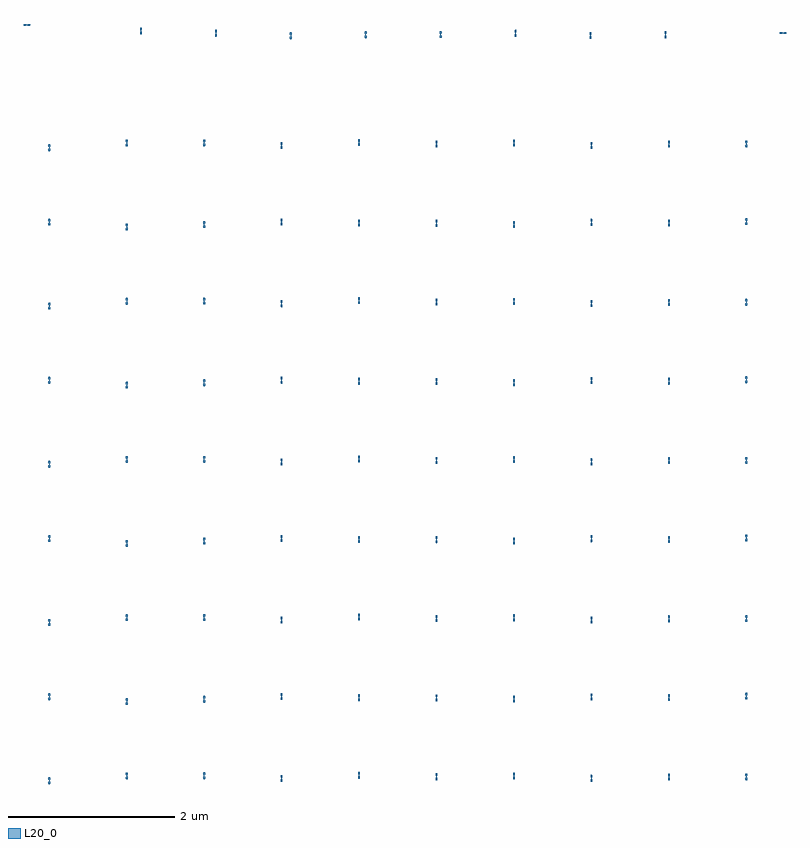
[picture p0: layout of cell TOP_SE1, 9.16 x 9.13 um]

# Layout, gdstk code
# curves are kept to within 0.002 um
import gdstk
lib = gdstk.Library(unit=1e-6, precision=1e-09)
def P(c, l, *ps):  # polygons
    for p in ps: c.add(gdstk.Polygon(p, *l))
L20_0 = (20, 0)

top_se1 = lib.new_cell('TOP_SE1')
P(top_se1, L20_0, [(-4.47,4.501),(-4.468,4.503),(-4.459,4.503),(-4.459,4.507),(-4.456,4.51),(-4.433,4.51),(-4.429,4.505),(-4.429,4.495),(-4.433,4.49),(-4.456,4.49),(-4.459,4.493),(-4.459,4.497),(-4.468,4.497)],
  [(-4.479,4.495),(-4.483,4.49),(-4.506,4.49),(-4.509,4.493),(-4.509,4.507),(-4.506,4.51),(-4.483,4.51),(-4.48,4.508),(-4.479,4.503),(-4.47,4.503),(-4.47,4.497),(-4.479,4.497)],
  [(-3.099,4.428),(-3.097,4.426),(-3.097,4.417),(-3.093,4.417),(-3.09,4.414),(-3.09,4.391),(-3.095,4.387),(-3.105,4.387),(-3.11,4.391),(-3.11,4.414),(-3.107,4.417),(-3.103,4.417),(-3.103,4.426)],
  [(-3.105,4.437),(-3.11,4.441),(-3.11,4.464),(-3.107,4.467),(-3.093,4.467),(-3.09,4.464),(-3.09,4.441),(-3.092,4.438),(-3.097,4.437),(-3.097,4.428),(-3.103,4.428),(-3.103,4.437)],
  [(-2.199,4.4),(-2.199,4.398),(-2.197,4.398),(-2.197,4.389),(-2.193,4.389),(-2.19,4.385),(-2.19,4.362),(-2.193,4.359),(-2.207,4.359),(-2.21,4.362),(-2.21,4.385),(-2.207,4.389),(-2.203,4.389),(-2.203,4.398)],
  [(-2.205,4.409),(-2.21,4.412),(-2.21,4.435),(-2.207,4.439),(-2.193,4.439),(-2.19,4.435),(-2.19,4.412),(-2.193,4.409),(-2.197,4.409),(-2.197,4.4),(-2.203,4.4),(-2.203,4.409)],
  [(-1.299,4.369),(-1.297,4.367),(-1.297,4.358),(-1.293,4.358),(-1.29,4.355),(-1.29,4.331),(-1.293,4.328),(-1.307,4.328),(-1.31,4.331),(-1.31,4.355),(-1.307,4.358),(-1.303,4.358),(-1.303,4.367)],
  [(-1.305,4.378),(-1.31,4.381),(-1.31,4.405),(-1.307,4.408),(-1.293,4.408),(-1.29,4.405),(-1.29,4.381),(-1.293,4.378),(-1.297,4.378),(-1.297,4.369),(-1.303,4.369),(-1.303,4.378)],
  [(-0.399,4.381),(-0.397,4.38),(-0.397,4.371),(-0.392,4.37),(-0.39,4.367),(-0.39,4.344),(-0.393,4.341),(-0.407,4.341),(-0.41,4.344),(-0.41,4.367),(-0.408,4.37),(-0.403,4.371),(-0.403,4.38)],
  [(-0.405,4.391),(-0.41,4.394),(-0.41,4.417),(-0.405,4.421),(-0.392,4.42),(-0.39,4.417),(-0.39,4.394),(-0.393,4.391),(-0.397,4.391),(-0.397,4.382),(-0.403,4.382),(-0.403,4.391)],
  [(0.501,4.383),(0.503,4.382),(0.503,4.373),(0.508,4.372),(0.51,4.369),(0.51,4.346),(0.507,4.343),(0.493,4.343),(0.49,4.346),(0.49,4.369),(0.492,4.372),(0.497,4.373),(0.497,4.382)],
  [(0.495,4.393),(0.49,4.396),(0.49,4.419),(0.495,4.423),(0.508,4.422),(0.51,4.419),(0.51,4.396),(0.507,4.393),(0.503,4.393),(0.503,4.384),(0.497,4.384),(0.497,4.393)],
  [(1.401,4.399),(1.401,4.397),(1.403,4.397),(1.403,4.388),(1.408,4.387),(1.41,4.384),(1.41,4.361),(1.407,4.358),(1.393,4.358),(1.39,4.361),(1.39,4.384),(1.392,4.387),(1.397,4.388),(1.397,4.397)],
  [(1.395,4.408),(1.39,4.411),(1.39,4.434),(1.395,4.438),(1.408,4.437),(1.41,4.434),(1.41,4.411),(1.407,4.408),(1.403,4.408),(1.403,4.399),(1.397,4.399),(1.397,4.408)],
  [(2.301,4.372),(2.301,4.37),(2.303,4.37),(2.303,4.361),(2.308,4.36),(2.31,4.357),(2.31,4.334),(2.307,4.331),(2.293,4.331),(2.29,4.334),(2.29,4.357),(2.292,4.36),(2.297,4.361),(2.297,4.37)],
  [(2.295,4.381),(2.29,4.384),(2.29,4.407),(2.295,4.411),(2.308,4.41),(2.31,4.407),(2.31,4.384),(2.307,4.381),(2.303,4.381),(2.303,4.372),(2.297,4.372),(2.297,4.381)],
  [(3.201,4.381),(3.201,4.379),(3.203,4.379),(3.203,4.37),(3.207,4.37),(3.21,4.366),(3.21,4.343),(3.207,4.34),(3.193,4.34),(3.19,4.343),(3.19,4.366),(3.193,4.37),(3.197,4.37),(3.197,4.379)],
  [(3.195,4.39),(3.19,4.393),(3.19,4.416),(3.193,4.42),(3.207,4.42),(3.21,4.416),(3.21,4.393),(3.207,4.39),(3.203,4.39),(3.203,4.381),(3.197,4.381),(3.197,4.39)],
  [(4.613,4.399),(4.611,4.397),(4.602,4.397),(4.602,4.393),(4.599,4.39),(4.576,4.39),(4.572,4.395),(4.572,4.405),(4.576,4.41),(4.599,4.41),(4.602,4.407),(4.602,4.403),(4.611,4.403)],
  [(4.622,4.405),(4.626,4.41),(4.649,4.41),(4.652,4.407),(4.652,4.393),(4.649,4.39),(4.626,4.39),(4.623,4.392),(4.622,4.397),(4.613,4.397),(4.613,4.403),(4.622,4.403)],
  [(-4.201,3.022),(-4.203,3.024),(-4.203,3.033),(-4.207,3.033),(-4.21,3.036),(-4.21,3.059),(-4.205,3.063),(-4.195,3.063),(-4.19,3.059),(-4.19,3.036),(-4.193,3.033),(-4.197,3.033),(-4.197,3.024)],
  [(-4.195,3.013),(-4.19,3.009),(-4.19,2.986),(-4.193,2.983),(-4.207,2.983),(-4.21,2.986),(-4.21,3.009),(-4.208,3.012),(-4.203,3.013),(-4.203,3.022),(-4.197,3.022),(-4.197,3.013)],
  [(-3.271,3.08),(-3.273,3.082),(-3.273,3.091),(-3.277,3.091),(-3.28,3.094),(-3.28,3.117),(-3.275,3.121),(-3.265,3.121),(-3.26,3.117),(-3.26,3.094),(-3.263,3.091),(-3.267,3.091),(-3.267,3.082)],
  [(-3.265,3.071),(-3.26,3.067),(-3.26,3.044),(-3.263,3.041),(-3.277,3.041),(-3.28,3.044),(-3.28,3.067),(-3.278,3.07),(-3.273,3.071),(-3.273,3.08),(-3.267,3.08),(-3.267,3.071)],
  [(-2.341,3.081),(-2.343,3.083),(-2.343,3.092),(-2.347,3.092),(-2.35,3.095),(-2.35,3.119),(-2.347,3.122),(-2.333,3.122),(-2.33,3.119),(-2.33,3.095),(-2.333,3.092),(-2.337,3.092),(-2.337,3.083)],
  [(-2.335,3.072),(-2.33,3.069),(-2.33,3.045),(-2.333,3.042),(-2.347,3.042),(-2.35,3.045),(-2.35,3.069),(-2.347,3.072),(-2.343,3.072),(-2.343,3.081),(-2.337,3.081),(-2.337,3.072)],
  [(-1.411,3.05),(-1.411,3.052),(-1.413,3.052),(-1.413,3.061),(-1.417,3.061),(-1.42,3.065),(-1.42,3.088),(-1.417,3.091),(-1.403,3.091),(-1.4,3.088),(-1.4,3.065),(-1.403,3.061),(-1.407,3.061),(-1.407,3.052)],
  [(-1.405,3.041),(-1.4,3.038),(-1.4,3.015),(-1.403,3.011),(-1.417,3.011),(-1.42,3.015),(-1.42,3.038),(-1.417,3.041),(-1.413,3.041),(-1.413,3.05),(-1.407,3.05),(-1.407,3.041)],
  [(-0.481,3.087),(-0.483,3.089),(-0.483,3.098),(-0.487,3.098),(-0.49,3.101),(-0.49,3.124),(-0.485,3.128),(-0.475,3.128),(-0.47,3.124),(-0.47,3.101),(-0.473,3.098),(-0.477,3.098),(-0.477,3.089)],
  [(-0.475,3.078),(-0.47,3.074),(-0.47,3.051),(-0.473,3.048),(-0.487,3.048),(-0.49,3.051),(-0.49,3.074),(-0.488,3.077),(-0.483,3.078),(-0.483,3.087),(-0.477,3.087),(-0.477,3.078)],
  [(0.449,3.069),(0.449,3.071),(0.447,3.071),(0.447,3.08),(0.443,3.08),(0.44,3.084),(0.44,3.107),(0.443,3.11),(0.457,3.11),(0.46,3.107),(0.46,3.084),(0.457,3.08),(0.453,3.08),(0.453,3.071)],
  [(0.455,3.06),(0.46,3.057),(0.46,3.034),(0.457,3.03),(0.443,3.03),(0.44,3.034),(0.44,3.057),(0.443,3.06),(0.447,3.06),(0.447,3.069),(0.453,3.069),(0.453,3.06)],
  [(1.379,3.078),(1.379,3.08),(1.377,3.08),(1.377,3.089),(1.372,3.09),(1.37,3.093),(1.37,3.116),(1.373,3.119),(1.387,3.119),(1.39,3.116),(1.39,3.093),(1.388,3.09),(1.383,3.089),(1.383,3.08)],
  [(1.385,3.069),(1.39,3.066),(1.39,3.043),(1.385,3.039),(1.372,3.04),(1.37,3.043),(1.37,3.066),(1.373,3.069),(1.377,3.069),(1.377,3.078),(1.383,3.078),(1.383,3.069)],
  [(2.309,3.051),(2.309,3.053),(2.307,3.053),(2.307,3.062),(2.302,3.063),(2.3,3.066),(2.3,3.089),(2.303,3.092),(2.317,3.092),(2.32,3.089),(2.32,3.066),(2.318,3.063),(2.313,3.062),(2.313,3.053)],
  [(2.315,3.042),(2.32,3.039),(2.32,3.016),(2.315,3.012),(2.302,3.013),(2.3,3.016),(2.3,3.039),(2.303,3.042),(2.307,3.042),(2.307,3.051),(2.313,3.051),(2.313,3.042)],
  [(3.239,3.067),(3.237,3.068),(3.237,3.077),(3.232,3.078),(3.23,3.081),(3.23,3.104),(3.233,3.107),(3.247,3.107),(3.25,3.104),(3.25,3.081),(3.248,3.078),(3.243,3.077),(3.243,3.068)],
  [(3.245,3.057),(3.25,3.054),(3.25,3.031),(3.245,3.027),(3.232,3.028),(3.23,3.031),(3.23,3.054),(3.233,3.057),(3.237,3.057),(3.237,3.066),(3.243,3.066),(3.243,3.057)],
  [(4.169,3.069),(4.167,3.07),(4.167,3.079),(4.162,3.08),(4.16,3.083),(4.16,3.106),(4.163,3.109),(4.177,3.109),(4.18,3.106),(4.18,3.083),(4.178,3.08),(4.173,3.079),(4.173,3.07)],
  [(4.175,3.059),(4.18,3.056),(4.18,3.033),(4.175,3.029),(4.162,3.03),(4.16,3.033),(4.16,3.056),(4.163,3.059),(4.167,3.059),(4.167,3.068),(4.173,3.068),(4.173,3.059)],
  [(-4.201,2.13),(-4.203,2.132),(-4.203,2.141),(-4.207,2.141),(-4.21,2.144),(-4.21,2.167),(-4.205,2.171),(-4.195,2.171),(-4.19,2.167),(-4.19,2.144),(-4.193,2.141),(-4.197,2.141),(-4.197,2.132)],
  [(-4.195,2.121),(-4.19,2.117),(-4.19,2.094),(-4.193,2.091),(-4.207,2.091),(-4.21,2.094),(-4.21,2.117),(-4.208,2.12),(-4.203,2.121),(-4.203,2.13),(-4.197,2.13),(-4.197,2.121)],
  [(-3.271,2.072),(-3.273,2.074),(-3.273,2.083),(-3.277,2.083),(-3.28,2.086),(-3.28,2.109),(-3.275,2.113),(-3.265,2.113),(-3.26,2.109),(-3.26,2.086),(-3.263,2.083),(-3.267,2.083),(-3.267,2.074)],
  [(-3.265,2.063),(-3.26,2.059),(-3.26,2.036),(-3.263,2.033),(-3.277,2.033),(-3.28,2.036),(-3.28,2.059),(-3.278,2.062),(-3.273,2.063),(-3.273,2.072),(-3.267,2.072),(-3.267,2.063)],
  [(-2.341,2.1),(-2.341,2.102),(-2.343,2.102),(-2.343,2.111),(-2.347,2.111),(-2.35,2.115),(-2.35,2.138),(-2.347,2.141),(-2.333,2.141),(-2.33,2.138),(-2.33,2.115),(-2.333,2.111),(-2.337,2.111),(-2.337,2.102)],
  [(-2.335,2.091),(-2.33,2.088),(-2.33,2.065),(-2.333,2.061),(-2.347,2.061),(-2.35,2.065),(-2.35,2.088),(-2.347,2.091),(-2.343,2.091),(-2.343,2.1),(-2.337,2.1),(-2.337,2.091)],
  [(-1.411,2.131),(-1.413,2.133),(-1.413,2.142),(-1.417,2.142),(-1.42,2.145),(-1.42,2.169),(-1.417,2.172),(-1.403,2.172),(-1.4,2.169),(-1.4,2.145),(-1.403,2.142),(-1.407,2.142),(-1.407,2.133)],
  [(-1.405,2.122),(-1.4,2.119),(-1.4,2.095),(-1.403,2.092),(-1.417,2.092),(-1.42,2.095),(-1.42,2.119),(-1.417,2.122),(-1.413,2.122),(-1.413,2.131),(-1.407,2.131),(-1.407,2.122)],
  [(-0.481,2.119),(-0.483,2.12),(-0.483,2.129),(-0.488,2.13),(-0.49,2.133),(-0.49,2.156),(-0.487,2.159),(-0.473,2.159),(-0.47,2.156),(-0.47,2.133),(-0.472,2.13),(-0.477,2.129),(-0.477,2.12)],
  [(-0.475,2.109),(-0.47,2.106),(-0.47,2.083),(-0.475,2.079),(-0.488,2.08),(-0.49,2.083),(-0.49,2.106),(-0.487,2.109),(-0.483,2.109),(-0.483,2.118),(-0.477,2.118),(-0.477,2.109)],
  [(0.449,2.117),(0.447,2.118),(0.447,2.127),(0.442,2.128),(0.44,2.131),(0.44,2.154),(0.443,2.157),(0.457,2.157),(0.46,2.154),(0.46,2.131),(0.458,2.128),(0.453,2.127),(0.453,2.118)],
  [(0.455,2.107),(0.46,2.104),(0.46,2.081),(0.455,2.077),(0.442,2.078),(0.44,2.081),(0.44,2.104),(0.443,2.107),(0.447,2.107),(0.447,2.116),(0.453,2.116),(0.453,2.107)],
  [(1.379,2.101),(1.379,2.103),(1.377,2.103),(1.377,2.112),(1.372,2.113),(1.37,2.116),(1.37,2.139),(1.373,2.142),(1.387,2.142),(1.39,2.139),(1.39,2.116),(1.388,2.113),(1.383,2.112),(1.383,2.103)],
  [(1.385,2.092),(1.39,2.089),(1.39,2.066),(1.385,2.062),(1.372,2.063),(1.37,2.066),(1.37,2.089),(1.373,2.092),(1.377,2.092),(1.377,2.101),(1.383,2.101),(1.383,2.092)],
  [(2.309,2.128),(2.309,2.13),(2.307,2.13),(2.307,2.139),(2.302,2.14),(2.3,2.143),(2.3,2.166),(2.303,2.169),(2.317,2.169),(2.32,2.166),(2.32,2.143),(2.318,2.14),(2.313,2.139),(2.313,2.13)],
  [(2.315,2.119),(2.32,2.116),(2.32,2.093),(2.315,2.089),(2.302,2.09),(2.3,2.093),(2.3,2.116),(2.303,2.119),(2.307,2.119),(2.307,2.128),(2.313,2.128),(2.313,2.119)],
  [(3.239,2.119),(3.239,2.121),(3.237,2.121),(3.237,2.13),(3.233,2.13),(3.23,2.134),(3.23,2.157),(3.233,2.16),(3.247,2.16),(3.25,2.157),(3.25,2.134),(3.247,2.13),(3.243,2.13),(3.243,2.121)],
  [(3.245,2.11),(3.25,2.107),(3.25,2.084),(3.247,2.08),(3.233,2.08),(3.23,2.084),(3.23,2.107),(3.233,2.11),(3.237,2.11),(3.237,2.119),(3.243,2.119),(3.243,2.11)],
  [(4.169,2.137),(4.167,2.139),(4.167,2.148),(4.163,2.148),(4.16,2.151),(4.16,2.174),(4.165,2.178),(4.175,2.178),(4.18,2.174),(4.18,2.151),(4.177,2.148),(4.173,2.148),(4.173,2.139)],
  [(4.175,2.128),(4.18,2.124),(4.18,2.101),(4.177,2.098),(4.163,2.098),(4.16,2.101),(4.16,2.124),(4.162,2.127),(4.167,2.128),(4.167,2.137),(4.173,2.137),(4.173,2.128)],
  [(-4.201,1.122),(-4.203,1.124),(-4.203,1.133),(-4.207,1.133),(-4.21,1.136),(-4.21,1.159),(-4.205,1.163),(-4.195,1.163),(-4.19,1.159),(-4.19,1.136),(-4.193,1.133),(-4.197,1.133),(-4.197,1.124)],
  [(-4.195,1.113),(-4.19,1.109),(-4.19,1.086),(-4.193,1.083),(-4.207,1.083),(-4.21,1.086),(-4.21,1.109),(-4.208,1.112),(-4.203,1.113),(-4.203,1.122),(-4.197,1.122),(-4.197,1.113)],
  [(-3.271,1.18),(-3.273,1.182),(-3.273,1.191),(-3.277,1.191),(-3.28,1.194),(-3.28,1.217),(-3.275,1.221),(-3.265,1.221),(-3.26,1.217),(-3.26,1.194),(-3.263,1.191),(-3.267,1.191),(-3.267,1.182)],
  [(-3.265,1.171),(-3.26,1.167),(-3.26,1.144),(-3.263,1.141),(-3.277,1.141),(-3.28,1.144),(-3.28,1.167),(-3.278,1.17),(-3.273,1.171),(-3.273,1.18),(-3.267,1.18),(-3.267,1.171)],
  [(-2.341,1.181),(-2.343,1.183),(-2.343,1.192),(-2.347,1.192),(-2.35,1.195),(-2.35,1.219),(-2.347,1.222),(-2.333,1.222),(-2.33,1.219),(-2.33,1.195),(-2.333,1.192),(-2.337,1.192),(-2.337,1.183)],
  [(-2.335,1.172),(-2.33,1.169),(-2.33,1.145),(-2.333,1.142),(-2.347,1.142),(-2.35,1.145),(-2.35,1.169),(-2.347,1.172),(-2.343,1.172),(-2.343,1.181),(-2.337,1.181),(-2.337,1.172)],
  [(-1.411,1.15),(-1.411,1.152),(-1.413,1.152),(-1.413,1.161),(-1.417,1.161),(-1.42,1.165),(-1.42,1.188),(-1.417,1.191),(-1.403,1.191),(-1.4,1.188),(-1.4,1.165),(-1.403,1.161),(-1.407,1.161),(-1.407,1.152)],
  [(-1.405,1.141),(-1.4,1.138),(-1.4,1.115),(-1.403,1.111),(-1.417,1.111),(-1.42,1.115),(-1.42,1.138),(-1.417,1.141),(-1.413,1.141),(-1.413,1.15),(-1.407,1.15),(-1.407,1.141)],
  [(-0.481,1.187),(-0.483,1.189),(-0.483,1.198),(-0.487,1.198),(-0.49,1.201),(-0.49,1.224),(-0.485,1.228),(-0.475,1.228),(-0.47,1.224),(-0.47,1.201),(-0.473,1.198),(-0.477,1.198),(-0.477,1.189)],
  [(-0.475,1.178),(-0.47,1.174),(-0.47,1.151),(-0.473,1.148),(-0.487,1.148),(-0.49,1.151),(-0.49,1.174),(-0.488,1.177),(-0.483,1.178),(-0.483,1.187),(-0.477,1.187),(-0.477,1.178)],
  [(0.449,1.169),(0.449,1.171),(0.447,1.171),(0.447,1.18),(0.443,1.18),(0.44,1.184),(0.44,1.207),(0.443,1.21),(0.457,1.21),(0.46,1.207),(0.46,1.184),(0.457,1.18),(0.453,1.18),(0.453,1.171)],
  [(0.455,1.16),(0.46,1.157),(0.46,1.134),(0.457,1.13),(0.443,1.13),(0.44,1.134),(0.44,1.157),(0.443,1.16),(0.447,1.16),(0.447,1.169),(0.453,1.169),(0.453,1.16)],
  [(1.379,1.178),(1.379,1.18),(1.377,1.18),(1.377,1.189),(1.372,1.19),(1.37,1.193),(1.37,1.216),(1.373,1.219),(1.387,1.219),(1.39,1.216),(1.39,1.193),(1.388,1.19),(1.383,1.189),(1.383,1.18)],
  [(1.385,1.169),(1.39,1.166),(1.39,1.143),(1.385,1.139),(1.372,1.14),(1.37,1.143),(1.37,1.166),(1.373,1.169),(1.377,1.169),(1.377,1.178),(1.383,1.178),(1.383,1.169)],
  [(2.309,1.151),(2.309,1.153),(2.307,1.153),(2.307,1.162),(2.302,1.163),(2.3,1.166),(2.3,1.189),(2.303,1.192),(2.317,1.192),(2.32,1.189),(2.32,1.166),(2.318,1.163),(2.313,1.162),(2.313,1.153)],
  [(2.315,1.142),(2.32,1.139),(2.32,1.116),(2.315,1.112),(2.302,1.113),(2.3,1.116),(2.3,1.139),(2.303,1.142),(2.307,1.142),(2.307,1.151),(2.313,1.151),(2.313,1.142)],
  [(3.239,1.167),(3.237,1.168),(3.237,1.177),(3.232,1.178),(3.23,1.181),(3.23,1.204),(3.233,1.207),(3.247,1.207),(3.25,1.204),(3.25,1.181),(3.248,1.178),(3.243,1.177),(3.243,1.168)],
  [(3.245,1.157),(3.25,1.154),(3.25,1.131),(3.245,1.127),(3.232,1.128),(3.23,1.131),(3.23,1.154),(3.233,1.157),(3.237,1.157),(3.237,1.166),(3.243,1.166),(3.243,1.157)],
  [(4.169,1.169),(4.167,1.17),(4.167,1.179),(4.162,1.18),(4.16,1.183),(4.16,1.206),(4.163,1.209),(4.177,1.209),(4.18,1.206),(4.18,1.183),(4.178,1.18),(4.173,1.179),(4.173,1.17)],
  [(4.175,1.159),(4.18,1.156),(4.18,1.133),(4.175,1.129),(4.162,1.13),(4.16,1.133),(4.16,1.156),(4.163,1.159),(4.167,1.159),(4.167,1.168),(4.173,1.168),(4.173,1.159)],
  [(-4.201,0.23),(-4.203,0.232),(-4.203,0.241),(-4.207,0.241),(-4.21,0.244),(-4.21,0.267),(-4.205,0.271),(-4.195,0.271),(-4.19,0.267),(-4.19,0.244),(-4.193,0.241),(-4.197,0.241),(-4.197,0.232)],
  [(-4.195,0.221),(-4.19,0.217),(-4.19,0.194),(-4.193,0.191),(-4.207,0.191),(-4.21,0.194),(-4.21,0.217),(-4.208,0.22),(-4.203,0.221),(-4.203,0.23),(-4.197,0.23),(-4.197,0.221)],
  [(-3.271,0.172),(-3.273,0.174),(-3.273,0.183),(-3.277,0.183),(-3.28,0.186),(-3.28,0.209),(-3.275,0.213),(-3.265,0.213),(-3.26,0.209),(-3.26,0.186),(-3.263,0.183),(-3.267,0.183),(-3.267,0.174)],
  [(-3.265,0.163),(-3.26,0.159),(-3.26,0.136),(-3.263,0.133),(-3.277,0.133),(-3.28,0.136),(-3.28,0.159),(-3.278,0.162),(-3.273,0.163),(-3.273,0.172),(-3.267,0.172),(-3.267,0.163)],
  [(-2.341,0.2),(-2.341,0.202),(-2.343,0.202),(-2.343,0.211),(-2.347,0.211),(-2.35,0.215),(-2.35,0.238),(-2.347,0.241),(-2.333,0.241),(-2.33,0.238),(-2.33,0.215),(-2.333,0.211),(-2.337,0.211),(-2.337,0.202)],
  [(-2.335,0.191),(-2.33,0.188),(-2.33,0.165),(-2.333,0.161),(-2.347,0.161),(-2.35,0.165),(-2.35,0.188),(-2.347,0.191),(-2.343,0.191),(-2.343,0.2),(-2.337,0.2),(-2.337,0.191)],
  [(-1.411,0.231),(-1.413,0.233),(-1.413,0.242),(-1.417,0.242),(-1.42,0.245),(-1.42,0.269),(-1.417,0.272),(-1.403,0.272),(-1.4,0.269),(-1.4,0.245),(-1.403,0.242),(-1.407,0.242),(-1.407,0.233)],
  [(-1.405,0.222),(-1.4,0.219),(-1.4,0.195),(-1.403,0.192),(-1.417,0.192),(-1.42,0.195),(-1.42,0.219),(-1.417,0.222),(-1.413,0.222),(-1.413,0.231),(-1.407,0.231),(-1.407,0.222)],
  [(-0.481,0.219),(-0.483,0.22),(-0.483,0.229),(-0.488,0.23),(-0.49,0.233),(-0.49,0.256),(-0.487,0.259),(-0.473,0.259),(-0.47,0.256),(-0.47,0.233),(-0.472,0.23),(-0.477,0.229),(-0.477,0.22)],
  [(-0.475,0.209),(-0.47,0.206),(-0.47,0.183),(-0.475,0.179),(-0.488,0.18),(-0.49,0.183),(-0.49,0.206),(-0.487,0.209),(-0.483,0.209),(-0.483,0.218),(-0.477,0.218),(-0.477,0.209)],
  [(0.449,0.217),(0.447,0.218),(0.447,0.227),(0.442,0.228),(0.44,0.231),(0.44,0.254),(0.443,0.257),(0.457,0.257),(0.46,0.254),(0.46,0.231),(0.458,0.228),(0.453,0.227),(0.453,0.218)],
  [(0.455,0.207),(0.46,0.204),(0.46,0.181),(0.455,0.177),(0.442,0.178),(0.44,0.181),(0.44,0.204),(0.443,0.207),(0.447,0.207),(0.447,0.216),(0.453,0.216),(0.453,0.207)],
  [(1.379,0.201),(1.379,0.203),(1.377,0.203),(1.377,0.212),(1.372,0.213),(1.37,0.216),(1.37,0.239),(1.373,0.242),(1.387,0.242),(1.39,0.239),(1.39,0.216),(1.388,0.213),(1.383,0.212),(1.383,0.203)],
  [(1.385,0.192),(1.39,0.189),(1.39,0.166),(1.385,0.162),(1.372,0.163),(1.37,0.166),(1.37,0.189),(1.373,0.192),(1.377,0.192),(1.377,0.201),(1.383,0.201),(1.383,0.192)],
  [(2.309,0.228),(2.309,0.23),(2.307,0.23),(2.307,0.239),(2.302,0.24),(2.3,0.243),(2.3,0.266),(2.303,0.269),(2.317,0.269),(2.32,0.266),(2.32,0.243),(2.318,0.24),(2.313,0.239),(2.313,0.23)],
  [(2.315,0.219),(2.32,0.216),(2.32,0.193),(2.315,0.189),(2.302,0.19),(2.3,0.193),(2.3,0.216),(2.303,0.219),(2.307,0.219),(2.307,0.228),(2.313,0.228),(2.313,0.219)],
  [(3.239,0.219),(3.239,0.221),(3.237,0.221),(3.237,0.23),(3.233,0.23),(3.23,0.234),(3.23,0.257),(3.233,0.26),(3.247,0.26),(3.25,0.257),(3.25,0.234),(3.247,0.23),(3.243,0.23),(3.243,0.221)],
  [(3.245,0.21),(3.25,0.207),(3.25,0.184),(3.247,0.18),(3.233,0.18),(3.23,0.184),(3.23,0.207),(3.233,0.21),(3.237,0.21),(3.237,0.219),(3.243,0.219),(3.243,0.21)],
  [(4.169,0.237),(4.167,0.239),(4.167,0.248),(4.163,0.248),(4.16,0.251),(4.16,0.274),(4.165,0.278),(4.175,0.278),(4.18,0.274),(4.18,0.251),(4.177,0.248),(4.173,0.248),(4.173,0.239)],
  [(4.175,0.228),(4.18,0.224),(4.18,0.201),(4.177,0.198),(4.163,0.198),(4.16,0.201),(4.16,0.224),(4.162,0.227),(4.167,0.228),(4.167,0.237),(4.173,0.237),(4.173,0.228)],
  [(-4.201,-0.778),(-4.203,-0.776),(-4.203,-0.767),(-4.207,-0.767),(-4.21,-0.764),(-4.21,-0.741),(-4.205,-0.737),(-4.195,-0.737),(-4.19,-0.741),(-4.19,-0.764),(-4.193,-0.767),(-4.197,-0.767),(-4.197,-0.776)],
  [(-4.195,-0.787),(-4.19,-0.791),(-4.19,-0.814),(-4.193,-0.817),(-4.207,-0.817),(-4.21,-0.814),(-4.21,-0.791),(-4.208,-0.788),(-4.203,-0.787),(-4.203,-0.778),(-4.197,-0.778),(-4.197,-0.787)],
  [(-3.271,-0.72),(-3.273,-0.718),(-3.273,-0.709),(-3.277,-0.709),(-3.28,-0.706),(-3.28,-0.683),(-3.275,-0.679),(-3.265,-0.679),(-3.26,-0.683),(-3.26,-0.706),(-3.263,-0.709),(-3.267,-0.709),(-3.267,-0.718)],
  [(-3.265,-0.729),(-3.26,-0.733),(-3.26,-0.756),(-3.263,-0.759),(-3.277,-0.759),(-3.28,-0.756),(-3.28,-0.733),(-3.278,-0.73),(-3.273,-0.729),(-3.273,-0.72),(-3.267,-0.72),(-3.267,-0.729)],
  [(-2.341,-0.719),(-2.343,-0.717),(-2.343,-0.708),(-2.347,-0.708),(-2.35,-0.705),(-2.35,-0.681),(-2.347,-0.678),(-2.333,-0.678),(-2.33,-0.681),(-2.33,-0.705),(-2.333,-0.708),(-2.337,-0.708),(-2.337,-0.717)],
  [(-2.335,-0.728),(-2.33,-0.731),(-2.33,-0.755),(-2.333,-0.758),(-2.347,-0.758),(-2.35,-0.755),(-2.35,-0.731),(-2.347,-0.728),(-2.343,-0.728),(-2.343,-0.719),(-2.337,-0.719),(-2.337,-0.728)],
  [(-1.411,-0.75),(-1.411,-0.748),(-1.413,-0.748),(-1.413,-0.739),(-1.417,-0.739),(-1.42,-0.735),(-1.42,-0.712),(-1.417,-0.709),(-1.403,-0.709),(-1.4,-0.712),(-1.4,-0.735),(-1.403,-0.739),(-1.407,-0.739),(-1.407,-0.748)],
  [(-1.405,-0.759),(-1.4,-0.762),(-1.4,-0.785),(-1.403,-0.789),(-1.417,-0.789),(-1.42,-0.785),(-1.42,-0.762),(-1.417,-0.759),(-1.413,-0.759),(-1.413,-0.75),(-1.407,-0.75),(-1.407,-0.759)],
  [(-0.481,-0.713),(-0.483,-0.711),(-0.483,-0.702),(-0.487,-0.702),(-0.49,-0.699),(-0.49,-0.676),(-0.485,-0.672),(-0.475,-0.672),(-0.47,-0.676),(-0.47,-0.699),(-0.473,-0.702),(-0.477,-0.702),(-0.477,-0.711)],
  [(-0.475,-0.722),(-0.47,-0.726),(-0.47,-0.749),(-0.473,-0.752),(-0.487,-0.752),(-0.49,-0.749),(-0.49,-0.726),(-0.488,-0.723),(-0.483,-0.722),(-0.483,-0.713),(-0.477,-0.713),(-0.477,-0.722)],
  [(0.449,-0.731),(0.449,-0.729),(0.447,-0.729),(0.447,-0.72),(0.443,-0.72),(0.44,-0.716),(0.44,-0.693),(0.443,-0.69),(0.457,-0.69),(0.46,-0.693),(0.46,-0.716),(0.457,-0.72),(0.453,-0.72),(0.453,-0.729)],
  [(0.455,-0.74),(0.46,-0.743),(0.46,-0.766),(0.457,-0.77),(0.443,-0.77),(0.44,-0.766),(0.44,-0.743),(0.443,-0.74),(0.447,-0.74),(0.447,-0.731),(0.453,-0.731),(0.453,-0.74)],
  [(1.379,-0.722),(1.379,-0.72),(1.377,-0.72),(1.377,-0.711),(1.372,-0.71),(1.37,-0.707),(1.37,-0.684),(1.373,-0.681),(1.387,-0.681),(1.39,-0.684),(1.39,-0.707),(1.388,-0.71),(1.383,-0.711),(1.383,-0.72)],
  [(1.385,-0.731),(1.39,-0.734),(1.39,-0.757),(1.385,-0.761),(1.372,-0.76),(1.37,-0.757),(1.37,-0.734),(1.373,-0.731),(1.377,-0.731),(1.377,-0.722),(1.383,-0.722),(1.383,-0.731)],
  [(2.309,-0.749),(2.309,-0.747),(2.307,-0.747),(2.307,-0.738),(2.302,-0.737),(2.3,-0.734),(2.3,-0.711),(2.303,-0.708),(2.317,-0.708),(2.32,-0.711),(2.32,-0.734),(2.318,-0.737),(2.313,-0.738),(2.313,-0.747)],
  [(2.315,-0.758),(2.32,-0.761),(2.32,-0.784),(2.315,-0.788),(2.302,-0.787),(2.3,-0.784),(2.3,-0.761),(2.303,-0.758),(2.307,-0.758),(2.307,-0.749),(2.313,-0.749),(2.313,-0.758)],
  [(3.239,-0.733),(3.237,-0.732),(3.237,-0.723),(3.232,-0.722),(3.23,-0.719),(3.23,-0.696),(3.233,-0.693),(3.247,-0.693),(3.25,-0.696),(3.25,-0.719),(3.248,-0.722),(3.243,-0.723),(3.243,-0.732)],
  [(3.245,-0.743),(3.25,-0.746),(3.25,-0.769),(3.245,-0.773),(3.232,-0.772),(3.23,-0.769),(3.23,-0.746),(3.233,-0.743),(3.237,-0.743),(3.237,-0.734),(3.243,-0.734),(3.243,-0.743)],
  [(4.169,-0.731),(4.167,-0.73),(4.167,-0.721),(4.162,-0.72),(4.16,-0.717),(4.16,-0.694),(4.163,-0.691),(4.177,-0.691),(4.18,-0.694),(4.18,-0.717),(4.178,-0.72),(4.173,-0.721),(4.173,-0.73)],
  [(4.175,-0.741),(4.18,-0.744),(4.18,-0.767),(4.175,-0.771),(4.162,-0.77),(4.16,-0.767),(4.16,-0.744),(4.163,-0.741),(4.167,-0.741),(4.167,-0.732),(4.173,-0.732),(4.173,-0.741)],
  [(-4.201,-1.67),(-4.203,-1.668),(-4.203,-1.659),(-4.207,-1.659),(-4.21,-1.656),(-4.21,-1.633),(-4.205,-1.629),(-4.195,-1.629),(-4.19,-1.633),(-4.19,-1.656),(-4.193,-1.659),(-4.197,-1.659),(-4.197,-1.668)],
  [(-4.195,-1.679),(-4.19,-1.683),(-4.19,-1.706),(-4.193,-1.709),(-4.207,-1.709),(-4.21,-1.706),(-4.21,-1.683),(-4.208,-1.68),(-4.203,-1.679),(-4.203,-1.67),(-4.197,-1.67),(-4.197,-1.679)],
  [(-3.271,-1.728),(-3.273,-1.726),(-3.273,-1.717),(-3.277,-1.717),(-3.28,-1.714),(-3.28,-1.691),(-3.275,-1.687),(-3.265,-1.687),(-3.26,-1.691),(-3.26,-1.714),(-3.263,-1.717),(-3.267,-1.717),(-3.267,-1.726)],
  [(-3.265,-1.737),(-3.26,-1.741),(-3.26,-1.764),(-3.263,-1.767),(-3.277,-1.767),(-3.28,-1.764),(-3.28,-1.741),(-3.278,-1.738),(-3.273,-1.737),(-3.273,-1.728),(-3.267,-1.728),(-3.267,-1.737)],
  [(-2.341,-1.7),(-2.341,-1.698),(-2.343,-1.698),(-2.343,-1.689),(-2.347,-1.689),(-2.35,-1.685),(-2.35,-1.662),(-2.347,-1.659),(-2.333,-1.659),(-2.33,-1.662),(-2.33,-1.685),(-2.333,-1.689),(-2.337,-1.689),(-2.337,-1.698)],
  [(-2.335,-1.709),(-2.33,-1.712),(-2.33,-1.735),(-2.333,-1.739),(-2.347,-1.739),(-2.35,-1.735),(-2.35,-1.712),(-2.347,-1.709),(-2.343,-1.709),(-2.343,-1.7),(-2.337,-1.7),(-2.337,-1.709)],
  [(-1.411,-1.669),(-1.413,-1.667),(-1.413,-1.658),(-1.417,-1.658),(-1.42,-1.655),(-1.42,-1.631),(-1.417,-1.628),(-1.403,-1.628),(-1.4,-1.631),(-1.4,-1.655),(-1.403,-1.658),(-1.407,-1.658),(-1.407,-1.667)],
  [(-1.405,-1.678),(-1.4,-1.681),(-1.4,-1.705),(-1.403,-1.708),(-1.417,-1.708),(-1.42,-1.705),(-1.42,-1.681),(-1.417,-1.678),(-1.413,-1.678),(-1.413,-1.669),(-1.407,-1.669),(-1.407,-1.678)],
  [(-0.481,-1.681),(-0.483,-1.68),(-0.483,-1.671),(-0.488,-1.67),(-0.49,-1.667),(-0.49,-1.644),(-0.487,-1.641),(-0.473,-1.641),(-0.47,-1.644),(-0.47,-1.667),(-0.472,-1.67),(-0.477,-1.671),(-0.477,-1.68)],
  [(-0.475,-1.691),(-0.47,-1.694),(-0.47,-1.717),(-0.475,-1.721),(-0.488,-1.72),(-0.49,-1.717),(-0.49,-1.694),(-0.487,-1.691),(-0.483,-1.691),(-0.483,-1.682),(-0.477,-1.682),(-0.477,-1.691)],
  [(0.449,-1.683),(0.447,-1.682),(0.447,-1.673),(0.442,-1.672),(0.44,-1.669),(0.44,-1.646),(0.443,-1.643),(0.457,-1.643),(0.46,-1.646),(0.46,-1.669),(0.458,-1.672),(0.453,-1.673),(0.453,-1.682)],
  [(0.455,-1.693),(0.46,-1.696),(0.46,-1.719),(0.455,-1.723),(0.442,-1.722),(0.44,-1.719),(0.44,-1.696),(0.443,-1.693),(0.447,-1.693),(0.447,-1.684),(0.453,-1.684),(0.453,-1.693)],
  [(1.379,-1.699),(1.379,-1.697),(1.377,-1.697),(1.377,-1.688),(1.372,-1.687),(1.37,-1.684),(1.37,-1.661),(1.373,-1.658),(1.387,-1.658),(1.39,-1.661),(1.39,-1.684),(1.388,-1.687),(1.383,-1.688),(1.383,-1.697)],
  [(1.385,-1.708),(1.39,-1.711),(1.39,-1.734),(1.385,-1.738),(1.372,-1.737),(1.37,-1.734),(1.37,-1.711),(1.373,-1.708),(1.377,-1.708),(1.377,-1.699),(1.383,-1.699),(1.383,-1.708)],
  [(2.309,-1.672),(2.309,-1.67),(2.307,-1.67),(2.307,-1.661),(2.302,-1.66),(2.3,-1.657),(2.3,-1.634),(2.303,-1.631),(2.317,-1.631),(2.32,-1.634),(2.32,-1.657),(2.318,-1.66),(2.313,-1.661),(2.313,-1.67)],
  [(2.315,-1.681),(2.32,-1.684),(2.32,-1.707),(2.315,-1.711),(2.302,-1.71),(2.3,-1.707),(2.3,-1.684),(2.303,-1.681),(2.307,-1.681),(2.307,-1.672),(2.313,-1.672),(2.313,-1.681)],
  [(3.239,-1.681),(3.239,-1.679),(3.237,-1.679),(3.237,-1.67),(3.233,-1.67),(3.23,-1.666),(3.23,-1.643),(3.233,-1.64),(3.247,-1.64),(3.25,-1.643),(3.25,-1.666),(3.247,-1.67),(3.243,-1.67),(3.243,-1.679)],
  [(3.245,-1.69),(3.25,-1.693),(3.25,-1.716),(3.247,-1.72),(3.233,-1.72),(3.23,-1.716),(3.23,-1.693),(3.233,-1.69),(3.237,-1.69),(3.237,-1.681),(3.243,-1.681),(3.243,-1.69)],
  [(4.169,-1.663),(4.167,-1.661),(4.167,-1.652),(4.163,-1.652),(4.16,-1.649),(4.16,-1.626),(4.165,-1.622),(4.175,-1.622),(4.18,-1.626),(4.18,-1.649),(4.177,-1.652),(4.173,-1.652),(4.173,-1.661)],
  [(4.175,-1.672),(4.18,-1.676),(4.18,-1.699),(4.177,-1.702),(4.163,-1.702),(4.16,-1.699),(4.16,-1.676),(4.162,-1.673),(4.167,-1.672),(4.167,-1.663),(4.173,-1.663),(4.173,-1.672)],
  [(-4.201,-2.678),(-4.203,-2.676),(-4.203,-2.667),(-4.207,-2.667),(-4.21,-2.664),(-4.21,-2.641),(-4.205,-2.637),(-4.195,-2.637),(-4.19,-2.641),(-4.19,-2.664),(-4.193,-2.667),(-4.197,-2.667),(-4.197,-2.676)],
  [(-4.195,-2.687),(-4.19,-2.691),(-4.19,-2.714),(-4.193,-2.717),(-4.207,-2.717),(-4.21,-2.714),(-4.21,-2.691),(-4.208,-2.688),(-4.203,-2.687),(-4.203,-2.678),(-4.197,-2.678),(-4.197,-2.687)],
  [(-3.271,-2.62),(-3.273,-2.618),(-3.273,-2.609),(-3.277,-2.609),(-3.28,-2.606),(-3.28,-2.583),(-3.275,-2.579),(-3.265,-2.579),(-3.26,-2.583),(-3.26,-2.606),(-3.263,-2.609),(-3.267,-2.609),(-3.267,-2.618)],
  [(-3.265,-2.629),(-3.26,-2.633),(-3.26,-2.656),(-3.263,-2.659),(-3.277,-2.659),(-3.28,-2.656),(-3.28,-2.633),(-3.278,-2.63),(-3.273,-2.629),(-3.273,-2.62),(-3.267,-2.62),(-3.267,-2.629)],
  [(-2.341,-2.619),(-2.343,-2.617),(-2.343,-2.608),(-2.347,-2.608),(-2.35,-2.605),(-2.35,-2.581),(-2.347,-2.578),(-2.333,-2.578),(-2.33,-2.581),(-2.33,-2.605),(-2.333,-2.608),(-2.337,-2.608),(-2.337,-2.617)],
  [(-2.335,-2.628),(-2.33,-2.631),(-2.33,-2.655),(-2.333,-2.658),(-2.347,-2.658),(-2.35,-2.655),(-2.35,-2.631),(-2.347,-2.628),(-2.343,-2.628),(-2.343,-2.619),(-2.337,-2.619),(-2.337,-2.628)],
  [(-1.411,-2.65),(-1.411,-2.648),(-1.413,-2.648),(-1.413,-2.639),(-1.417,-2.639),(-1.42,-2.635),(-1.42,-2.612),(-1.417,-2.609),(-1.403,-2.609),(-1.4,-2.612),(-1.4,-2.635),(-1.403,-2.639),(-1.407,-2.639),(-1.407,-2.648)],
  [(-1.405,-2.659),(-1.4,-2.662),(-1.4,-2.685),(-1.403,-2.689),(-1.417,-2.689),(-1.42,-2.685),(-1.42,-2.662),(-1.417,-2.659),(-1.413,-2.659),(-1.413,-2.65),(-1.407,-2.65),(-1.407,-2.659)],
  [(-0.481,-2.613),(-0.483,-2.611),(-0.483,-2.602),(-0.487,-2.602),(-0.49,-2.599),(-0.49,-2.576),(-0.485,-2.572),(-0.475,-2.572),(-0.47,-2.576),(-0.47,-2.599),(-0.473,-2.602),(-0.477,-2.602),(-0.477,-2.611)],
  [(-0.475,-2.622),(-0.47,-2.626),(-0.47,-2.649),(-0.473,-2.652),(-0.487,-2.652),(-0.49,-2.649),(-0.49,-2.626),(-0.488,-2.623),(-0.483,-2.622),(-0.483,-2.613),(-0.477,-2.613),(-0.477,-2.622)],
  [(0.449,-2.631),(0.449,-2.629),(0.447,-2.629),(0.447,-2.62),(0.443,-2.62),(0.44,-2.616),(0.44,-2.593),(0.443,-2.59),(0.457,-2.59),(0.46,-2.593),(0.46,-2.616),(0.457,-2.62),(0.453,-2.62),(0.453,-2.629)],
  [(0.455,-2.64),(0.46,-2.643),(0.46,-2.666),(0.457,-2.67),(0.443,-2.67),(0.44,-2.666),(0.44,-2.643),(0.443,-2.64),(0.447,-2.64),(0.447,-2.631),(0.453,-2.631),(0.453,-2.64)],
  [(1.379,-2.622),(1.379,-2.62),(1.377,-2.62),(1.377,-2.611),(1.372,-2.61),(1.37,-2.607),(1.37,-2.584),(1.373,-2.581),(1.387,-2.581),(1.39,-2.584),(1.39,-2.607),(1.388,-2.61),(1.383,-2.611),(1.383,-2.62)],
  [(1.385,-2.631),(1.39,-2.634),(1.39,-2.657),(1.385,-2.661),(1.372,-2.66),(1.37,-2.657),(1.37,-2.634),(1.373,-2.631),(1.377,-2.631),(1.377,-2.622),(1.383,-2.622),(1.383,-2.631)],
  [(2.309,-2.649),(2.309,-2.647),(2.307,-2.647),(2.307,-2.638),(2.302,-2.637),(2.3,-2.634),(2.3,-2.611),(2.303,-2.608),(2.317,-2.608),(2.32,-2.611),(2.32,-2.634),(2.318,-2.637),(2.313,-2.638),(2.313,-2.647)],
  [(2.315,-2.658),(2.32,-2.661),(2.32,-2.684),(2.315,-2.688),(2.302,-2.687),(2.3,-2.684),(2.3,-2.661),(2.303,-2.658),(2.307,-2.658),(2.307,-2.649),(2.313,-2.649),(2.313,-2.658)],
  [(3.239,-2.633),(3.237,-2.632),(3.237,-2.623),(3.232,-2.622),(3.23,-2.619),(3.23,-2.596),(3.233,-2.593),(3.247,-2.593),(3.25,-2.596),(3.25,-2.619),(3.248,-2.622),(3.243,-2.623),(3.243,-2.632)],
  [(3.245,-2.643),(3.25,-2.646),(3.25,-2.669),(3.245,-2.673),(3.232,-2.672),(3.23,-2.669),(3.23,-2.646),(3.233,-2.643),(3.237,-2.643),(3.237,-2.634),(3.243,-2.634),(3.243,-2.643)],
  [(4.169,-2.631),(4.167,-2.63),(4.167,-2.621),(4.162,-2.62),(4.16,-2.617),(4.16,-2.594),(4.163,-2.591),(4.177,-2.591),(4.18,-2.594),(4.18,-2.617),(4.178,-2.62),(4.173,-2.621),(4.173,-2.63)],
  [(4.175,-2.641),(4.18,-2.644),(4.18,-2.667),(4.175,-2.671),(4.162,-2.67),(4.16,-2.667),(4.16,-2.644),(4.163,-2.641),(4.167,-2.641),(4.167,-2.632),(4.173,-2.632),(4.173,-2.641)],
  [(-4.201,-3.57),(-4.203,-3.568),(-4.203,-3.559),(-4.207,-3.559),(-4.21,-3.556),(-4.21,-3.533),(-4.205,-3.529),(-4.195,-3.529),(-4.19,-3.533),(-4.19,-3.556),(-4.193,-3.559),(-4.197,-3.559),(-4.197,-3.568)],
  [(-4.195,-3.579),(-4.19,-3.583),(-4.19,-3.606),(-4.193,-3.609),(-4.207,-3.609),(-4.21,-3.606),(-4.21,-3.583),(-4.208,-3.58),(-4.203,-3.579),(-4.203,-3.57),(-4.197,-3.57),(-4.197,-3.579)],
  [(-3.271,-3.628),(-3.273,-3.626),(-3.273,-3.617),(-3.277,-3.617),(-3.28,-3.614),(-3.28,-3.591),(-3.275,-3.587),(-3.265,-3.587),(-3.26,-3.591),(-3.26,-3.614),(-3.263,-3.617),(-3.267,-3.617),(-3.267,-3.626)],
  [(-3.265,-3.637),(-3.26,-3.641),(-3.26,-3.664),(-3.263,-3.667),(-3.277,-3.667),(-3.28,-3.664),(-3.28,-3.641),(-3.278,-3.638),(-3.273,-3.637),(-3.273,-3.628),(-3.267,-3.628),(-3.267,-3.637)],
  [(-2.341,-3.6),(-2.341,-3.598),(-2.343,-3.598),(-2.343,-3.589),(-2.347,-3.589),(-2.35,-3.585),(-2.35,-3.562),(-2.347,-3.559),(-2.333,-3.559),(-2.33,-3.562),(-2.33,-3.585),(-2.333,-3.589),(-2.337,-3.589),(-2.337,-3.598)],
  [(-2.335,-3.609),(-2.33,-3.612),(-2.33,-3.635),(-2.333,-3.639),(-2.347,-3.639),(-2.35,-3.635),(-2.35,-3.612),(-2.347,-3.609),(-2.343,-3.609),(-2.343,-3.6),(-2.337,-3.6),(-2.337,-3.609)],
  [(-1.411,-3.569),(-1.413,-3.567),(-1.413,-3.558),(-1.417,-3.558),(-1.42,-3.555),(-1.42,-3.531),(-1.417,-3.528),(-1.403,-3.528),(-1.4,-3.531),(-1.4,-3.555),(-1.403,-3.558),(-1.407,-3.558),(-1.407,-3.567)],
  [(-1.405,-3.578),(-1.4,-3.581),(-1.4,-3.605),(-1.403,-3.608),(-1.417,-3.608),(-1.42,-3.605),(-1.42,-3.581),(-1.417,-3.578),(-1.413,-3.578),(-1.413,-3.569),(-1.407,-3.569),(-1.407,-3.578)],
  [(-0.481,-3.581),(-0.483,-3.58),(-0.483,-3.571),(-0.488,-3.57),(-0.49,-3.567),(-0.49,-3.544),(-0.487,-3.541),(-0.473,-3.541),(-0.47,-3.544),(-0.47,-3.567),(-0.472,-3.57),(-0.477,-3.571),(-0.477,-3.58)],
  [(-0.475,-3.591),(-0.47,-3.594),(-0.47,-3.617),(-0.475,-3.621),(-0.488,-3.62),(-0.49,-3.617),(-0.49,-3.594),(-0.487,-3.591),(-0.483,-3.591),(-0.483,-3.582),(-0.477,-3.582),(-0.477,-3.591)],
  [(0.449,-3.583),(0.447,-3.582),(0.447,-3.573),(0.442,-3.572),(0.44,-3.569),(0.44,-3.546),(0.443,-3.543),(0.457,-3.543),(0.46,-3.546),(0.46,-3.569),(0.458,-3.572),(0.453,-3.573),(0.453,-3.582)],
  [(0.455,-3.593),(0.46,-3.596),(0.46,-3.619),(0.455,-3.623),(0.442,-3.622),(0.44,-3.619),(0.44,-3.596),(0.443,-3.593),(0.447,-3.593),(0.447,-3.584),(0.453,-3.584),(0.453,-3.593)],
  [(1.379,-3.599),(1.379,-3.597),(1.377,-3.597),(1.377,-3.588),(1.372,-3.587),(1.37,-3.584),(1.37,-3.561),(1.373,-3.558),(1.387,-3.558),(1.39,-3.561),(1.39,-3.584),(1.388,-3.587),(1.383,-3.588),(1.383,-3.597)],
  [(1.385,-3.608),(1.39,-3.611),(1.39,-3.634),(1.385,-3.638),(1.372,-3.637),(1.37,-3.634),(1.37,-3.611),(1.373,-3.608),(1.377,-3.608),(1.377,-3.599),(1.383,-3.599),(1.383,-3.608)],
  [(2.309,-3.572),(2.309,-3.57),(2.307,-3.57),(2.307,-3.561),(2.302,-3.56),(2.3,-3.557),(2.3,-3.534),(2.303,-3.531),(2.317,-3.531),(2.32,-3.534),(2.32,-3.557),(2.318,-3.56),(2.313,-3.561),(2.313,-3.57)],
  [(2.315,-3.581),(2.32,-3.584),(2.32,-3.607),(2.315,-3.611),(2.302,-3.61),(2.3,-3.607),(2.3,-3.584),(2.303,-3.581),(2.307,-3.581),(2.307,-3.572),(2.313,-3.572),(2.313,-3.581)],
  [(3.239,-3.581),(3.239,-3.579),(3.237,-3.579),(3.237,-3.57),(3.233,-3.57),(3.23,-3.566),(3.23,-3.543),(3.233,-3.54),(3.247,-3.54),(3.25,-3.543),(3.25,-3.566),(3.247,-3.57),(3.243,-3.57),(3.243,-3.579)],
  [(3.245,-3.59),(3.25,-3.593),(3.25,-3.616),(3.247,-3.62),(3.233,-3.62),(3.23,-3.616),(3.23,-3.593),(3.233,-3.59),(3.237,-3.59),(3.237,-3.581),(3.243,-3.581),(3.243,-3.59)],
  [(4.169,-3.563),(4.167,-3.561),(4.167,-3.552),(4.163,-3.552),(4.16,-3.549),(4.16,-3.526),(4.165,-3.522),(4.175,-3.522),(4.18,-3.526),(4.18,-3.549),(4.177,-3.552),(4.173,-3.552),(4.173,-3.561)],
  [(4.175,-3.572),(4.18,-3.576),(4.18,-3.599),(4.177,-3.602),(4.163,-3.602),(4.16,-3.599),(4.16,-3.576),(4.162,-3.573),(4.167,-3.572),(4.167,-3.563),(4.173,-3.563),(4.173,-3.572)],
  [(-4.201,-4.578),(-4.203,-4.576),(-4.203,-4.567),(-4.207,-4.567),(-4.21,-4.564),(-4.21,-4.541),(-4.205,-4.537),(-4.195,-4.537),(-4.19,-4.541),(-4.19,-4.564),(-4.193,-4.567),(-4.197,-4.567),(-4.197,-4.576)],
  [(-4.195,-4.587),(-4.19,-4.591),(-4.19,-4.614),(-4.193,-4.617),(-4.207,-4.617),(-4.21,-4.614),(-4.21,-4.591),(-4.208,-4.588),(-4.203,-4.587),(-4.203,-4.578),(-4.197,-4.578),(-4.197,-4.587)],
  [(-3.271,-4.52),(-3.273,-4.518),(-3.273,-4.509),(-3.277,-4.509),(-3.28,-4.506),(-3.28,-4.483),(-3.275,-4.479),(-3.265,-4.479),(-3.26,-4.483),(-3.26,-4.506),(-3.263,-4.509),(-3.267,-4.509),(-3.267,-4.518)],
  [(-3.265,-4.529),(-3.26,-4.533),(-3.26,-4.556),(-3.263,-4.559),(-3.277,-4.559),(-3.28,-4.556),(-3.28,-4.533),(-3.278,-4.53),(-3.273,-4.529),(-3.273,-4.52),(-3.267,-4.52),(-3.267,-4.529)],
  [(-2.341,-4.519),(-2.343,-4.517),(-2.343,-4.508),(-2.347,-4.508),(-2.35,-4.505),(-2.35,-4.481),(-2.347,-4.478),(-2.333,-4.478),(-2.33,-4.481),(-2.33,-4.505),(-2.333,-4.508),(-2.337,-4.508),(-2.337,-4.517)],
  [(-2.335,-4.528),(-2.33,-4.531),(-2.33,-4.555),(-2.333,-4.558),(-2.347,-4.558),(-2.35,-4.555),(-2.35,-4.531),(-2.347,-4.528),(-2.343,-4.528),(-2.343,-4.519),(-2.337,-4.519),(-2.337,-4.528)],
  [(-1.411,-4.55),(-1.411,-4.548),(-1.413,-4.548),(-1.413,-4.539),(-1.417,-4.539),(-1.42,-4.535),(-1.42,-4.512),(-1.417,-4.509),(-1.403,-4.509),(-1.4,-4.512),(-1.4,-4.535),(-1.403,-4.539),(-1.407,-4.539),(-1.407,-4.548)],
  [(-1.405,-4.559),(-1.4,-4.562),(-1.4,-4.585),(-1.403,-4.589),(-1.417,-4.589),(-1.42,-4.585),(-1.42,-4.562),(-1.417,-4.559),(-1.413,-4.559),(-1.413,-4.55),(-1.407,-4.55),(-1.407,-4.559)],
  [(-0.481,-4.513),(-0.483,-4.511),(-0.483,-4.502),(-0.487,-4.502),(-0.49,-4.499),(-0.49,-4.476),(-0.485,-4.472),(-0.475,-4.472),(-0.47,-4.476),(-0.47,-4.499),(-0.473,-4.502),(-0.477,-4.502),(-0.477,-4.511)],
  [(-0.475,-4.522),(-0.47,-4.526),(-0.47,-4.549),(-0.473,-4.552),(-0.487,-4.552),(-0.49,-4.549),(-0.49,-4.526),(-0.488,-4.523),(-0.483,-4.522),(-0.483,-4.513),(-0.477,-4.513),(-0.477,-4.522)],
  [(0.449,-4.531),(0.449,-4.529),(0.447,-4.529),(0.447,-4.52),(0.443,-4.52),(0.44,-4.516),(0.44,-4.493),(0.443,-4.49),(0.457,-4.49),(0.46,-4.493),(0.46,-4.516),(0.457,-4.52),(0.453,-4.52),(0.453,-4.529)],
  [(0.455,-4.54),(0.46,-4.543),(0.46,-4.566),(0.457,-4.57),(0.443,-4.57),(0.44,-4.566),(0.44,-4.543),(0.443,-4.54),(0.447,-4.54),(0.447,-4.531),(0.453,-4.531),(0.453,-4.54)],
  [(1.379,-4.522),(1.379,-4.52),(1.377,-4.52),(1.377,-4.511),(1.372,-4.51),(1.37,-4.507),(1.37,-4.484),(1.373,-4.481),(1.387,-4.481),(1.39,-4.484),(1.39,-4.507),(1.388,-4.51),(1.383,-4.511),(1.383,-4.52)],
  [(1.385,-4.531),(1.39,-4.534),(1.39,-4.557),(1.385,-4.561),(1.372,-4.56),(1.37,-4.557),(1.37,-4.534),(1.373,-4.531),(1.377,-4.531),(1.377,-4.522),(1.383,-4.522),(1.383,-4.531)],
  [(2.309,-4.549),(2.309,-4.547),(2.307,-4.547),(2.307,-4.538),(2.302,-4.537),(2.3,-4.534),(2.3,-4.511),(2.303,-4.508),(2.317,-4.508),(2.32,-4.511),(2.32,-4.534),(2.318,-4.537),(2.313,-4.538),(2.313,-4.547)],
  [(2.315,-4.558),(2.32,-4.561),(2.32,-4.584),(2.315,-4.588),(2.302,-4.587),(2.3,-4.584),(2.3,-4.561),(2.303,-4.558),(2.307,-4.558),(2.307,-4.549),(2.313,-4.549),(2.313,-4.558)],
  [(3.239,-4.533),(3.237,-4.532),(3.237,-4.523),(3.232,-4.522),(3.23,-4.519),(3.23,-4.496),(3.233,-4.493),(3.247,-4.493),(3.25,-4.496),(3.25,-4.519),(3.248,-4.522),(3.243,-4.523),(3.243,-4.532)],
  [(3.245,-4.543),(3.25,-4.546),(3.25,-4.569),(3.245,-4.573),(3.232,-4.572),(3.23,-4.569),(3.23,-4.546),(3.233,-4.543),(3.237,-4.543),(3.237,-4.534),(3.243,-4.534),(3.243,-4.543)],
  [(4.169,-4.531),(4.167,-4.53),(4.167,-4.521),(4.162,-4.52),(4.16,-4.517),(4.16,-4.494),(4.163,-4.491),(4.177,-4.491),(4.18,-4.494),(4.18,-4.517),(4.178,-4.52),(4.173,-4.521),(4.173,-4.53)],
  [(4.175,-4.541),(4.18,-4.544),(4.18,-4.567),(4.175,-4.571),(4.162,-4.57),(4.16,-4.567),(4.16,-4.544),(4.163,-4.541),(4.167,-4.541),(4.167,-4.532),(4.173,-4.532),(4.173,-4.541)])

lib.write_gds('TOP_SE1.gds')
